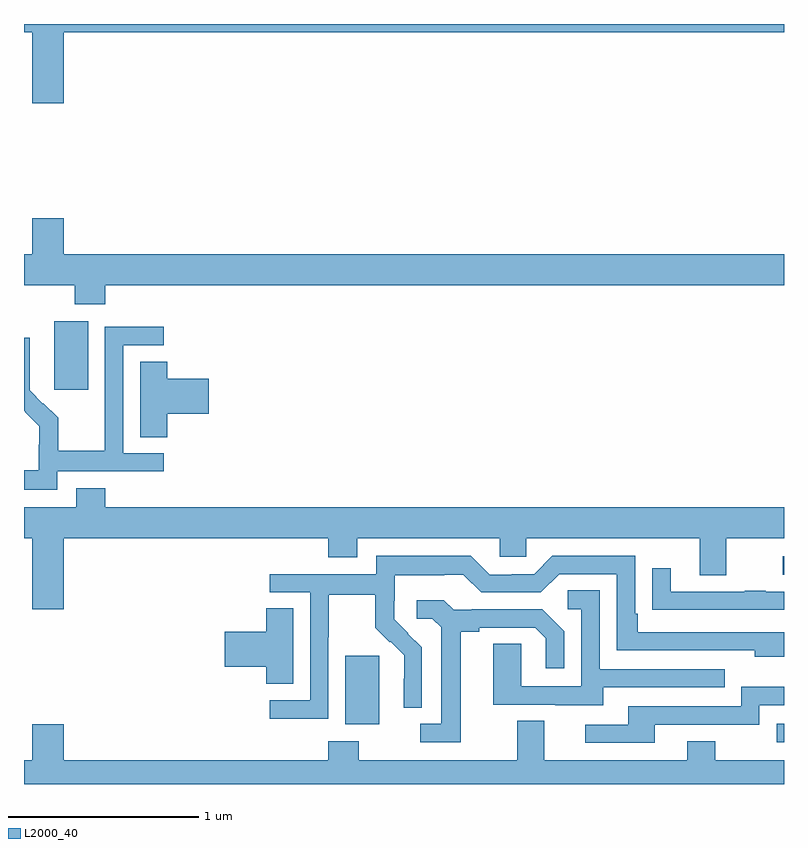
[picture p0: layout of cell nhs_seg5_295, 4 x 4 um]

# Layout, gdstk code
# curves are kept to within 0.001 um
import gdstk
lib = gdstk.Library(unit=1e-6, precision=1e-09)
def R(c, l, rs):  # rectangles x0, y0, x1, y1
    for r in rs: c.add(gdstk.rectangle(r[:2], r[2:], *l))
def P(c, l, *ps):  # polygons
    for p in ps: c.add(gdstk.Polygon(p, *l))
L2000_40 = (2000, 40)

nhs_seg5_295 = lib.new_cell('nhs_seg5_295')
R(nhs_seg5_295, L2000_40, [(132.963,857.019,133,857.115), (130.691,857.114,130.87,857.475), (132.993,857.901,133,857.997), (129.158,858.873,129.337,859.234)])
P(nhs_seg5_295, L2000_40, [(129.208,860.756),(133,860.756),(133,860.799),(129,860.799),(129,860.756),(129.044,860.756),(129.044,860.382),(129.208,860.382)],
  [(129.428,859.424),(133,859.424),(133,859.588),(129.208,859.588),(129.208,859.777),(129.044,859.777),(129.044,859.588),(129,859.588),(129,859.424),(129.268,859.424),(129.268,859.325),(129.428,859.325)],
  [(129.174,858.444),(129.736,858.444),(129.736,858.54),(129.522,858.54),(129.522,859.107),(129.736,859.107),(129.736,859.206),(129.426,859.206),(129.426,858.776),(129.424,858.776),(129.424,858.553),(129.179,858.553),(129.179,858.727),(129.102,858.804),(129.099,858.801),(129.029,858.872),(129.03,859.148),(129,859.148),(129,858.764),(129.007,858.757),(129.006,858.756),(129.08,858.682),(129.08,858.585),(129.078,858.585),(129.078,858.451),(129,858.451),(129,858.347),(129.174,858.347)],
  [(129.755,858.749),(129.973,858.749),(129.973,858.932),(129.755,858.932),(129.755,859.022),(129.611,859.022),(129.611,858.625),(129.755,858.625)],
  [(129.208,858.092),(130.601,858.092),(130.601,857.993),(130.753,857.993),(130.753,858.092),(131.505,858.092),(131.505,857.994),(131.643,857.994),(131.643,858.092),(132.557,858.092),(132.557,857.898),(132.697,857.898),(132.697,858.092),(133,858.092),(133,858.256),(129.428,858.256),(129.428,858.355),(129.275,858.355),(129.275,858.256),(129,858.256),(129,858.092),(129.044,858.092),(129.044,857.718),(129.208,857.718)],
  [(130.602,857.572),(130.605,857.572),(130.605,857.796),(130.849,857.796),(130.849,857.621),(130.926,857.544),(130.929,857.547),(131,857.477),(131,857.354),(130.998,857.354),(130.998,857.2),(131.094,857.2),(131.094,857.518),(130.948,857.666),(130.948,857.763),(130.95,857.763),(130.95,857.897),(131.213,857.897),(131.213,857.901),(131.313,857.901),(131.406,857.808),(131.721,857.808),(131.817,857.904),(132.12,857.904),(132.12,857.502),(132.845,857.502),(132.845,857.468),(133,857.468),(133,857.598),(132.229,857.598),(132.229,857.695),(132.216,857.695),(132.216,858),(131.781,858),(131.685,857.904),(131.567,857.904),(131.567,857.901),(131.451,857.901),(131.351,858.001),(130.854,858.001),(130.854,857.904),(130.293,857.904),(130.293,857.808),(130.506,857.808),(130.506,857.241),(130.293,857.241),(130.293,857.143),(130.602,857.143)],
  [(133,857.811),(132.905,857.811),(132.905,857.816),(132.793,857.816),(132.793,857.811),(132.403,857.811),(132.403,857.935),(132.307,857.935),(132.307,857.716),(132.409,857.716),(132.409,857.715),(133,857.715)],
  [(132.049,857.307),(132.689,857.307),(132.689,857.403),(132.03,857.403),(132.03,857.819),(131.862,857.819),(131.862,857.718),(131.934,857.718),(131.934,857.313),(131.616,857.313),(131.616,857.537),(131.471,857.537),(131.471,857.217),(131.795,857.217),(131.795,857.213),(132.049,857.213)],
  [(131.299,857.6),(131.395,857.6),(131.395,857.622),(131.69,857.622),(131.747,857.565),(131.747,857.409),(131.844,857.409),(131.844,857.602),(131.728,857.718),(131.356,857.718),(131.356,857.715),(131.262,857.715),(131.21,857.767),(131.067,857.767),(131.067,857.67),(131.148,857.67),(131.195,857.623),(131.195,857.115),(131.085,857.115),(131.085,857.019),(131.299,857.019)],
  [(130.417,857.723),(130.274,857.723),(130.274,857.6),(130.056,857.6),(130.056,857.417),(130.274,857.417),(130.274,857.326),(130.417,857.326)],
  [(132.319,857.112),(132.87,857.112),(132.87,857.214),(133,857.214),(133,857.311),(132.774,857.311),(132.774,857.208),(132.179,857.208),(132.179,857.112),(131.955,857.112),(131.955,857.016),(132.319,857.016)],
  [(133,856.924),(132.639,856.924),(132.639,857.023),(132.491,857.023),(132.491,856.924),(131.737,856.924),(131.737,857.132),(131.597,857.132),(131.597,856.924),(130.761,856.924),(130.761,857.023),(130.601,857.023),(130.601,856.924),(129.208,856.924),(129.208,857.113),(129.044,857.113),(129.044,856.924),(129,856.924),(129,856.799),(133,856.799)])

lib.write_gds('nhs_seg5_295.gds')
